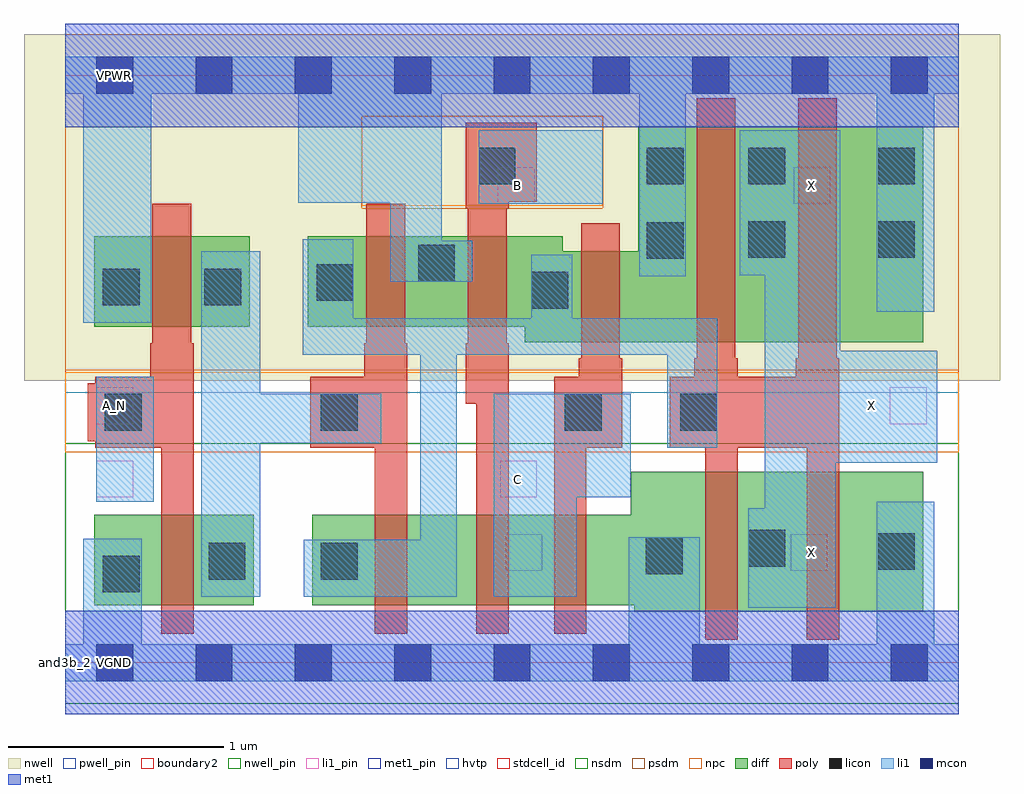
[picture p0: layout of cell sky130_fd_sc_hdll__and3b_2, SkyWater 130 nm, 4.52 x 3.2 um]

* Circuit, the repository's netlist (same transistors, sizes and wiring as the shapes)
* Copyright 2020 The SkyWater PDK Authors
*
* Licensed under the Apache License, Version 2.0 (the "License");
* you may not use this file except in compliance with the License.
* You may obtain a copy of the License at
*
*     https://www.apache.org/licenses/LICENSE-2.0
*
* Unless required by applicable law or agreed to in writing, software
* distributed under the License is distributed on an "AS IS" BASIS,
* WITHOUT WARRANTIES OR CONDITIONS OF ANY KIND, either express or implied.
* See the License for the specific language governing permissions and
* limitations under the License.
*
* SPDX-License-Identifier: Apache-2.0

.SUBCKT sky130_fd_sc_hdll__and3b_2 A_N B C VGND VNB VPB VPWR X
*.PININFO A_N:I B:I C:I VGND:I VNB:I VPB:I VPWR:I X:O
MMP0 y A VPWR VPB sky130_fd_pr__pfet_01v8_hvt m=1 w=0.42U l=0.18U mult=1 sa=0.265
+ sb=0.265 sd=0.28 area=0.063 perim=1.14
MMP1 y B VPWR VPB sky130_fd_pr__pfet_01v8_hvt m=1 w=0.42U l=0.18U mult=1 sa=0.265
+ sb=0.265 sd=0.28 area=0.063 perim=1.14
MMP2 y C VPWR VPB sky130_fd_pr__pfet_01v8_hvt m=1 w=0.42U l=0.18U mult=1 sa=0.265
+ sb=0.265 sd=0.28 area=0.063 perim=1.14
MMIP0 A A_N VPWR VPB sky130_fd_pr__pfet_01v8_hvt m=1 w=0.42U l=0.18U mult=1 sa=0.265
+ sb=0.265 sd=0.28 area=0.063 perim=1.14
MMIP1 X y VPWR VPB sky130_fd_pr__pfet_01v8_hvt m=2 w=1.0U l=0.18U mult=1 sa=0.265
+ sb=0.265 sd=0.28 area=0.063 perim=1.14
MMN0 y A sndA VNB sky130_fd_pr__nfet_01v8 m=1 w=0.42U l=0.15U mult=1 sa=0.265 sb=0.265
+ sd=0.28 area=0.063 perim=1.14
MMN1 sndA B sndB VNB sky130_fd_pr__nfet_01v8 m=1 w=0.42U l=0.15U mult=1 sa=0.265
+ sb=0.265 sd=0.28 area=0.063 perim=1.14
MMN2 sndB C VGND VNB sky130_fd_pr__nfet_01v8 m=1 w=0.42U l=0.15U mult=1 sa=0.265
+ sb=0.265 sd=0.28 area=0.063 perim=1.14
MMIN0 A A_N VGND VNB sky130_fd_pr__nfet_01v8 m=1 w=0.42U l=0.15U mult=1 sa=0.265
+ sb=0.265 sd=0.28 area=0.063 perim=1.14
MMIN1 X y VGND VNB sky130_fd_pr__nfet_01v8 m=2 w=0.65U l=0.15U mult=1 sa=0.265
+ sb=0.265 sd=0.28 area=0.063 perim=1.14
.ENDS sky130_fd_sc_hdll__and3b_2

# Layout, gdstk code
import gdstk
lib = gdstk.Library(unit=1e-6, precision=1e-09)
def R(c, l, rs):  # rectangles x0, y0, x1, y1
    for r in rs: c.add(gdstk.rectangle(r[:2], r[2:], *l))
def A(c, l, x, y, w, h, nx, ny, dx, dy):  # array of equal rectangles
    R(c, l, [(x+i*dx, y+j*dy, x+i*dx+w, y+j*dy+h) for i in range(nx) for j in range(ny)])
def P(c, l, *ps):  # polygons
    for p in ps: c.add(gdstk.Polygon(p, *l))
nwell_pin = (64, 16)
nwell = (64, 20)
diff = (65, 20)
poly = (66, 20)
licon = (66, 44)
li1_pin = (67, 16)
li1 = (67, 20)
mcon = (67, 44)
met1_pin = (68, 16)
met1 = (68, 20)
hvtp = (78, 44)
stdcell_id = (81, 4)
nsdm = (93, 44)
psdm = (94, 20)
npc = (95, 20)
pwell_pin = (122, 16)
boundary2 = (236, 0)

sky130_fd_sc_hdll__and3b = lib.new_cell('sky130_fd_sc_hdll__and3b_2')
R(sky130_fd_sc_hdll__and3b, nwell_pin, [(0.145,2.635,0.315,2.805)])
R(sky130_fd_sc_hdll__and3b, nwell, [(-0.19,1.305,4.33,2.91)])
R(sky130_fd_sc_hdll__and3b, diff, [(0.135,0.265,0.875,0.685), (0.135,1.555,0.855,1.975)])
P(sky130_fd_sc_hdll__and3b, diff, [(3.975,2.485),(2.655,2.485),(2.655,1.905),(2.305,1.905),(2.305,1.975),(1.125,1.975),(1.125,1.555),(2.13,1.555),(2.13,1.485),(3.975,1.485)],
  [(3.975,0.885),(2.62,0.885),(2.62,0.685),(1.145,0.685),(1.145,0.265),(2.635,0.265),(2.635,0.235),(3.975,0.235)])
P(sky130_fd_sc_hdll__and3b, poly, [(0.595,1.48),(0.585,1.48),(0.585,2.125),(0.405,2.125),(0.405,1.48),(0.395,1.48),(0.395,1.325),(0.14,1.325),(0.14,1.295),(0.105,1.295),(0.105,1.025),(0.14,1.025),(0.14,0.995),(0.445,0.995),(0.445,0.135),(0.595,0.135)],
  [(1.585,1.48),(1.575,1.48),(1.575,2.125),(1.395,2.125),(1.395,1.48),(1.385,1.48),(1.385,1.325),(1.135,1.325),(1.135,0.995),(1.435,0.995),(1.435,0.135),(1.585,0.135)],
  [(2.185,2.5),(1.855,2.5),(1.855,2.105),(1.865,2.105),(1.865,1.48),(1.855,1.48),(1.855,1.2),(1.905,1.2),(1.905,0.135),(2.055,0.135),(2.055,1.48),(2.045,1.48),(2.045,2.105),(2.055,2.105),(2.055,2.135),(2.185,2.135)],
  [(2.58,1.41),(2.57,1.41),(2.57,2.035),(2.39,2.035),(2.39,1.41),(2.38,1.41),(2.38,1.325),(2.265,1.325),(2.265,0.135),(2.415,0.135),(2.415,0.995),(2.58,0.995)],
  [(3.585,1.41),(3.575,1.41),(3.575,2.615),(3.395,2.615),(3.395,1.41),(3.385,1.41),(3.385,1.325),(3.115,1.325),(3.115,1.41),(3.105,1.41),(3.105,2.615),(2.925,2.615),(2.925,1.41),(2.915,1.41),(2.915,1.325),(2.8,1.325),(2.8,0.995),(2.965,0.995),(2.965,0.105),(3.115,0.105),(3.115,0.995),(3.435,0.995),(3.435,0.105),(3.585,0.105)])
R(sky130_fd_sc_hdll__and3b, licon, [(0.175,0.325,0.345,0.495), (0.665,0.385,0.835,0.555), (1.185,0.385,1.355,0.555), (2.69,0.41,2.86,0.58), (3.765,0.43,3.935,0.6), (3.165,0.445,3.335,0.615), (0.185,1.075,0.355,1.245), (1.185,1.075,1.355,1.245), (2.315,1.075,2.485,1.245), (2.85,1.075,3.02,1.245), (2.16,1.64,2.33,1.81), (0.175,1.655,0.345,1.825), (0.645,1.655,0.815,1.825), (1.165,1.675,1.335,1.845), (1.635,1.765,1.805,1.935), (2.695,1.87,2.865,2.04), (3.165,1.875,3.335,2.045), (3.765,1.875,3.935,2.045), (1.915,2.215,2.085,2.385), (2.695,2.215,2.865,2.385), (3.165,2.215,3.335,2.385), (3.765,2.215,3.935,2.385)])
R(sky130_fd_sc_hdll__and3b, li1_pin, [(2.04,0.425,2.21,0.595), (3.36,0.425,3.53,0.595), (0.145,0.765,0.315,0.935), (2.015,0.765,2.185,0.935), (0.145,1.105,0.315,1.275), (3.82,1.105,3.99,1.275), (2.005,2.125,2.175,2.295), (3.375,2.125,3.545,2.295)])
R(sky130_fd_sc_hdll__and3b, li1, [(0.145,0.745,0.41,1.325), (1.915,2.125,2.49,2.465)])
P(sky130_fd_sc_hdll__and3b, li1, [(4.14,2.805),(0,2.805),(0,2.635),(0.085,2.635),(0.085,1.575),(0.4,1.575),(0.4,2.635),(1.08,2.635),(1.08,2.13),(1.505,2.13),(1.505,1.765),(1.885,1.765),(1.885,1.955),(1.745,1.955),(1.745,2.635),(2.66,2.635),(2.66,1.79),(2.875,1.79),(2.875,2.635),(3.76,2.635),(3.76,1.625),(4.025,1.625),(4.025,2.635),(4.14,2.635)],
  [(4.04,1.445),(3.59,1.445),(3.59,2.465),(3.125,2.465),(3.125,1.795),(3.24,1.795),(3.24,0.715),(3.165,0.715),(3.165,0.255),(3.57,0.255),(3.57,0.925),(4.04,0.925)],
  [(2.62,1.245),(1.985,1.245),(1.985,0.305),(2.37,0.305),(2.37,0.765),(2.62,0.765)],
  [(3.02,1.595),(2.35,1.595),(2.35,1.89),(2.16,1.89),(2.16,1.595),(1.335,1.595),(1.335,1.96),(1.1,1.96),(1.1,1.425),(1.645,1.425),(1.645,0.57),(1.105,0.57),(1.105,0.305),(1.815,0.305),(1.815,1.425),(2.79,1.425),(2.79,0.995),(3.02,0.995)],
  [(1.465,1.245),(0.905,1.245),(0.905,1.905),(0.63,1.905),(0.63,0.305),(0.905,0.305),(0.905,1.015),(1.465,1.015)],
  [(4.14,0.085),(4.025,0.085),(4.025,0.745),(3.76,0.745),(3.76,0.085),(2.94,0.085),(2.94,0.58),(2.61,0.58),(2.61,0.085),(0.355,0.085),(0.355,0.575),(0.085,0.575),(0.085,0.085),(0,0.085),(0,-0.085),(4.14,-0.085)])
A(sky130_fd_sc_hdll__and3b, mcon, 0.145, -0.085, 0.17, 0.17, 9, 2, 0.46, 2.72)
R(sky130_fd_sc_hdll__and3b, met1_pin, [(0.145,-0.085,0.315,0.085), (0.145,2.635,0.315,2.805)])
R(sky130_fd_sc_hdll__and3b, met1, [(0,-0.24,4.14,0.24), (0,2.48,4.14,2.96)])
R(sky130_fd_sc_hdll__and3b, hvtp, [(0,1.25,4.14,2.72)])
R(sky130_fd_sc_hdll__and3b, stdcell_id, [(0,0,4.14,2.72)])
R(sky130_fd_sc_hdll__and3b, nsdm, [(0,-0.19,4.14,1.015)])
P(sky130_fd_sc_hdll__and3b, psdm, [(4.14,2.91),(2.49,2.91),(2.49,2.105),(1.375,2.105),(1.375,2.53),(2.49,2.53),(2.49,2.91),(0,2.91),(0,1.355),(4.14,1.355)])
R(sky130_fd_sc_hdll__and3b, npc, [(0,0.975,4.14,1.345), (1.375,2.115,2.49,2.53)])
R(sky130_fd_sc_hdll__and3b, pwell_pin, [(0.145,-0.085,0.315,0.085)])
R(sky130_fd_sc_hdll__and3b, boundary2, [(0,0,4.14,2.72)])
sky130_fd_sc_hdll__and3b.add(gdstk.Label('VGND', (0.23,0), layer=68, texttype=5))
sky130_fd_sc_hdll__and3b.add(gdstk.Label('VPWR', (0.23,2.72), layer=68, texttype=5))
sky130_fd_sc_hdll__and3b.add(gdstk.Label('B', (2.095,2.21), layer=67, texttype=5))
sky130_fd_sc_hdll__and3b.add(gdstk.Label('X', (3.455,0.51), layer=67, texttype=5))
sky130_fd_sc_hdll__and3b.add(gdstk.Label('X', (3.455,2.21), layer=67, texttype=5))
sky130_fd_sc_hdll__and3b.add(gdstk.Label('A_N', (0.23,1.19), layer=67, texttype=5))
sky130_fd_sc_hdll__and3b.add(gdstk.Label('C', (2.095,0.85), layer=67, texttype=5))
sky130_fd_sc_hdll__and3b.add(gdstk.Label('X', (3.735,1.19), layer=67, texttype=5))
sky130_fd_sc_hdll__and3b.add(gdstk.Label('VNB', (0.23,0), layer=64, texttype=59))
sky130_fd_sc_hdll__and3b.add(gdstk.Label('VPB', (0.23,2.72), layer=64, texttype=5))
sky130_fd_sc_hdll__and3b.add(gdstk.Label('and3b_2', (0,0), layer=83, texttype=44))

lib.write_gds('sky130_fd_sc_hdll__and3b_2.gds')
